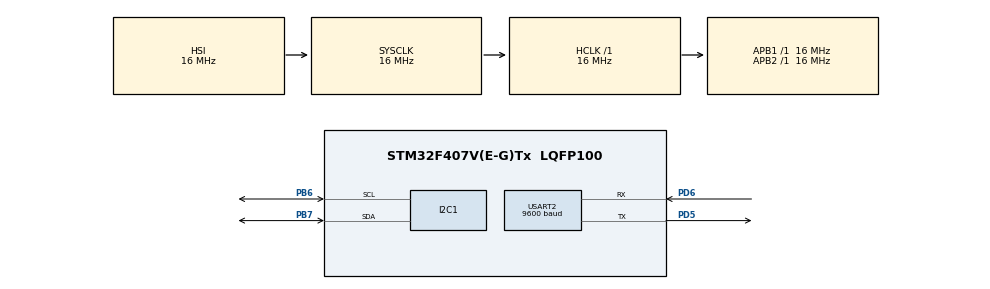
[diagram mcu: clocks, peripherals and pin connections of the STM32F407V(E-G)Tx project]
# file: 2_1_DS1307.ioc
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Mcu.Family=STM32F4
Mcu.Name=STM32F407V(E-G)Tx
Mcu.Package=LQFP100
NVIC.PriorityGroup=NVIC_PRIORITYGROUP_4
PB6.Mode=I2C
PB6.Signal=I2C1_SCL
PB7.Mode=I2C
PB7.Signal=I2C1_SDA
PD5.Mode=Asynchronous
PD5.Signal=USART2_TX
PD6.Mode=Asynchronous
PD6.Signal=USART2_RX
ProjectManager.HeapSize=0x200
ProjectManager.StackSize=0x400
ProjectManager.TargetToolchain=STM32CubeIDE
RCC.AHBFreq_Value=16000000
RCC.APB1Freq_Value=16000000
RCC.APB2Freq_Value=16000000
RCC.CortexFreq_Value=16000000
RCC.HSE_VALUE=25000000
RCC.HSI_VALUE=16000000
RCC.LSE_VALUE=32768
RCC.SYSCLKFreq_VALUE=16000000
RCC.VCOOutputFreq_Value=192000000
USART2.BaudRate=9600
USART2.VirtualMode=VM_ASYNC
board=custom

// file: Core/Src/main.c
/* USER CODE BEGIN Header */
/**
  ******************************************************************************
  * @file           : main.c
  * @brief          : Main program body
  ******************************************************************************
  * @attention
  *
  * Copyright (c) 2024 STMicroelectronics.
  * All rights reserved.
  *
  * This software is licensed under terms that can be found in the LICENSE file
  * in the root directory of this software component.
  * If no LICENSE file comes with this software, it is provided AS-IS.
  *
  ******************************************************************************
  */
/* USER CODE END Header */
#include "main.h"
#include "DS1307.h"
#include "i2c.h"
#include "usart.h"
#include "gpio.h"

/* USER CODE BEGIN PV */
char DOWBuffer[10];  //day of week
char dateBuffer[11]; // YYYY-MM-DD + null terminator
char timeBuffer[8];  // HH:MM:SS   + null terminator
char divider = '-'; // Date divider
char newline[] = "\n";
/* USER CODE END PV */

void SystemClock_Config(void);

int main(void)
{

  /* MCU Configuration--------------------------------------------------------*/

  /* Reset of all peripherals, Initializes the Flash interface and the Systick. */

	HAL_Init();

  /* Configure the system clock */
  SystemClock_Config();

  /* Initialize all configured peripherals */
  MX_GPIO_Init();
  MX_I2C1_Init();
  MX_USART2_UART_Init();
  /* USER CODE BEGIN 2 */

/* Initialization
 *
  DS1307_Init();

  DS1307_SetDate(2021, 12, 8);

  //Or
  	 //  DS1307_SetYear(2024);
  	 //  DS1307_SetMonth(10);
  	 //  DS1307_SetDay(27);

  DS1307_SetDayOfWeek(SUNDAY);

  DS1307_SetTime(13, 33, 00);

  // Or
	//  DS1307_SetHour(13);
	//  DS1307_SetMinute(25);
	//  DS1307_SetSecond(0);

*/

  // Getting Date
  DS1307_GetDateStr(divider, dateBuffer);
  HAL_UART_Transmit(&huart2, (uint8_t*)dateBuffer, strlen(dateBuffer), 5000);
  HAL_UART_Transmit(&huart2, (uint8_t*)newline, 1, 1000);

  // Getting Day Of Week
  DS1307_GetDOWStr(DOWBuffer);
  HAL_UART_Transmit(&huart2, (uint8_t*)DOWBuffer, strlen(DOWBuffer), 5000);
  HAL_UART_Transmit(&huart2, (uint8_t*)newline, 1, 1000);

  /* USER CODE END 2 */

  /* Infinite loop */
  /* USER CODE BEGIN WHILE */
  while (1)
  {
	 // Getting Time
	 DS1307_GetTimeStr(timeBuffer);
	 HAL_UART_Transmit(&huart2, (uint8_t*)timeBuffer, strlen(timeBuffer), 5000);
	 HAL_UART_Transmit(&huart2, (uint8_t*)newline, 1, 1000);
	 HAL_Delay(1000);

    /* USER CODE END WHILE */

  }
}

void SystemClock_Config(void)
{
  RCC_OscInitTypeDef RCC_OscInitStruct = {0};
  RCC_ClkInitTypeDef RCC_ClkInitStruct = {0};

  /** Configure the main internal regulator output voltage
  */
  __HAL_RCC_PWR_CLK_ENABLE();
  __HAL_PWR_VOLTAGESCALING_CONFIG(PWR_REGULATOR_VOLTAGE_SCALE1);

  /** Initializes the RCC Oscillators according to the specified parameters
  * in the RCC_OscInitTypeDef structure.
  */
  RCC_OscInitStruct.OscillatorType = RCC_OSCILLATORTYPE_HSI;
  RCC_OscInitStruct.HSIState = RCC_HSI_ON;
  RCC_OscInitStruct.HSICalibrationValue = RCC_HSICALIBRATION_DEFAULT;
  RCC_OscInitStruct.PLL.PLLState = RCC_PLL_NONE;
  if (HAL_RCC_OscConfig(&RCC_OscInitStruct) != HAL_OK)
  {
    Error_Handler();
  }

  /** Initializes the CPU, AHB and APB buses clocks
  */
  RCC_ClkInitStruct.ClockType = RCC_CLOCKTYPE_HCLK|RCC_CLOCKTYPE_SYSCLK
                              |RCC_CLOCKTYPE_PCLK1|RCC_CLOCKTYPE_PCLK2;
  RCC_ClkInitStruct.SYSCLKSource = RCC_SYSCLKSOURCE_HSI;
  RCC_ClkInitStruct.AHBCLKDivider = RCC_SYSCLK_DIV1;
  RCC_ClkInitStruct.APB1CLKDivider = RCC_HCLK_DIV1;
  RCC_ClkInitStruct.APB2CLKDivider = RCC_HCLK_DIV1;

  if (HAL_RCC_ClockConfig(&RCC_ClkInitStruct, FLASH_LATENCY_0) != HAL_OK)
  {
    Error_Handler();
  }
}

void Error_Handler(void)
{
  __disable_irq();
  while (1)
  {
  }
}
